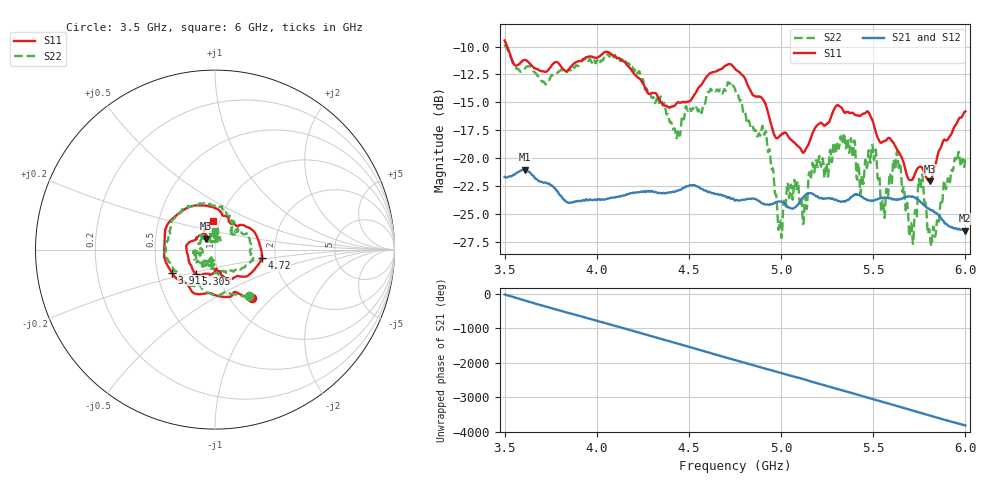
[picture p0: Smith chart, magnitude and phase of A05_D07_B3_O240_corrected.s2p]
! Created with skrf 1.9.0 (http://scikit-rf.org).
# Hz S RI R 50.0
!freq ReS11 ImS11 ReS21 ImS21 ReS12 ImS12 ReS22 ImS22
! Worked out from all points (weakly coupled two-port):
!   1601 points, 3.5 GHz to 6 GHz, reference 50 ohm
!   highest |S21| = -21.03 dB at 3.609 GHz (marker M1); lowest = -26.5 dB at 5.995 GHz (marker M2)
!   lowest |S11| = -22.1 dB at 5.806 GHz (marker M3), VSWR 1.17, Z = 45 + j5.6 ohm
!   |S11| at or under -10 dB: 3.515 GHz to end of sweep
!   |S22| runs from -27.9 to -9.8 dB; largest |S21 - S12| = 0.0011
!   S11 on the Smith chart (normalised r, x): 3.5 GHz: 1.26, -0.76; 3.911 GHz: 0.60, -0.17; 4.72 GHz: 1.69, -0.17; 5.305 GHz: 0.78, -0.22; 6 GHz: 0.93, +0.31
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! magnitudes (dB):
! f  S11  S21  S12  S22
! 3.5 GHz  -9.5  -21.7  -21.7  -9.8
! 3.609 GHz  -11.2  -21.0  -21.1  -12.0
! 3.911 GHz  -11.3  -23.8  -23.8  -11.5
! 3.917 GHz  -11.3  -23.8  -23.8  -11.4
! 4.334 GHz  -14.6  -23.1  -23.1  -15.1
! 4.441 GHz  -15.0  -22.9  -22.9  -17.5
! 4.72 GHz  -11.6  -23.5  -23.5  -13.3
! 4.75 GHz  -12.0  -23.8  -23.7  -13.8
! 4.911 GHz  -15.0  -24.1  -24.1  -17.9
! 4.994 GHz  -18.0  -23.9  -23.8  -25.6
! 5.167 GHz  -17.9  -23.2  -23.2  -20.8
! 5.305 GHz  -15.2  -23.8  -23.8  -18.6
! 5.438 GHz  -16.1  -23.4  -23.5  -21.6
! 5.505 GHz  -17.1  -23.8  -23.8  -20.2
! 5.553 GHz  -18.5  -23.6  -23.5  -23.8
! 5.584 GHz  -18.2  -23.6  -23.6  -22.5
! 5.638 GHz  -19.4  -23.7  -23.7  -20.8
! 5.708 GHz  -22.0  -23.4  -23.4  -26.0
! 5.758 GHz  -20.8  -23.9  -23.9  -22.6
! 5.806 GHz  -22.1  -24.6  -24.6  -26.5
! 5.995 GHz  -15.9  -26.5  -26.4  -20.6
! 6 GHz  -15.8  -26.5  -26.4  -19.8
